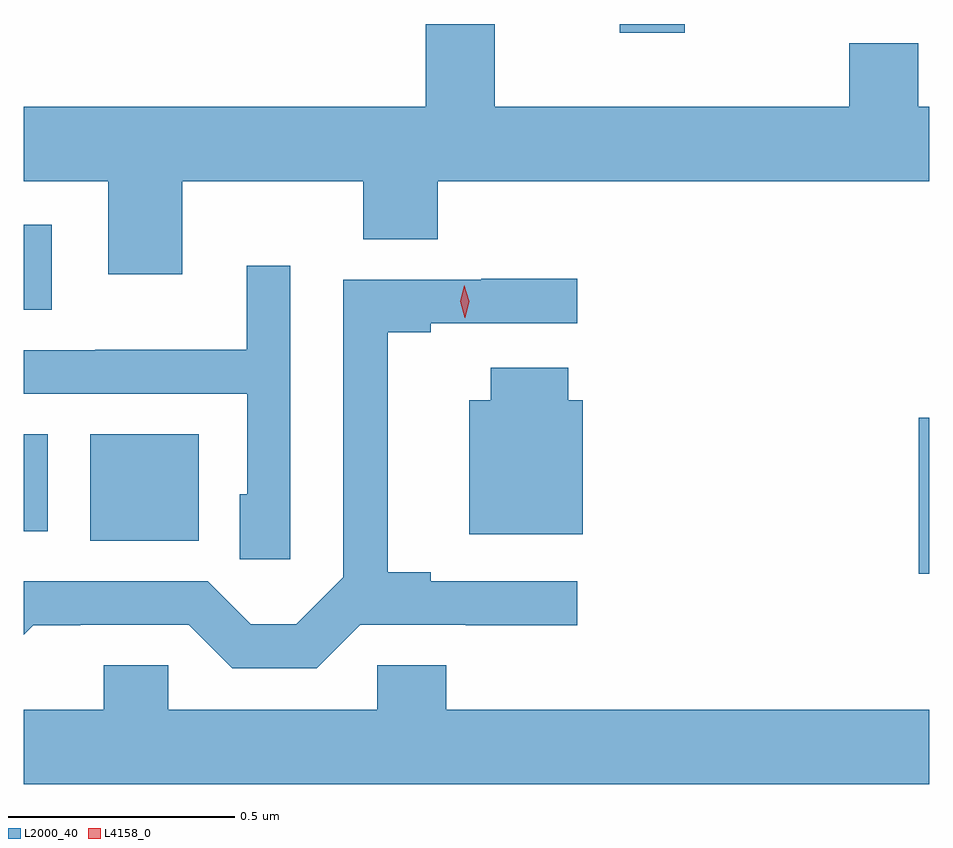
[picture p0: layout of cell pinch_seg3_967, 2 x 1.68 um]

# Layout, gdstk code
import gdstk
lib = gdstk.Library(unit=1e-6, precision=1e-09)
def R(c, l, rs):  # rectangles x0, y0, x1, y1
    for r in rs: c.add(gdstk.rectangle(r[:2], r[2:], *l))
def P(c, l, *ps):  # polygons
    for p in ps: c.add(gdstk.Polygon(p, *l))
L2000_40 = (2000, 40)
L4158_0 = (4158, 0)

pinch_seg3_967 = lib.new_cell('pinch_seg3_967')
R(pinch_seg3_967, L2000_40, [(569.828,728.021,569.851,728.365), (567.998,728.093,568.237,728.329), (567.851,728.114,567.904,728.329), (567.851,728.604,567.913,728.791), (569.168,729.216,569.311,729.235)])
P(pinch_seg3_967, L2000_40, [(568.201,728.888),(568.601,728.888),(568.601,728.76),(568.765,728.76),(568.765,728.888),(569.851,728.888),(569.851,729.052),(569.827,729.052),(569.827,729.193),(569.675,729.193),(569.675,729.052),(568.891,729.052),(568.891,729.235),(568.739,729.235),(568.739,729.052),(567.851,729.052),(567.851,728.888),(568.037,728.888),(568.037,728.682),(568.201,728.682)],
  [(568.44,728.701),(568.343,728.701),(568.343,728.515),(568.009,728.515),(568.009,728.514),(567.851,728.514),(567.851,728.418),(568.344,728.418),(568.344,728.196),(568.328,728.196),(568.328,728.053),(568.44,728.053)],
  [(568.594,727.908),(568.827,727.908),(568.827,727.907),(569.074,727.907),(569.074,728.004),(568.75,728.004),(568.75,728.024),(568.655,728.024),(568.655,728.554),(568.75,728.554),(568.75,728.574),(569.074,728.574),(569.074,728.672),(568.861,728.672),(568.861,728.67),(568.557,728.67),(568.557,728.013),(568.453,727.909),(568.352,727.909),(568.257,728.004),(567.851,728.004),(567.851,727.886),(567.872,727.907),(567.976,727.907),(567.976,727.908),(568.215,727.908),(568.311,727.812),(568.498,727.812)],
  [(569.086,728.404),(569.054,728.404),(569.054,728.476),(568.883,728.476),(568.883,728.404),(568.835,728.404),(568.835,728.108),(569.086,728.108)],
  [(569.851,727.72),(568.784,727.72),(568.784,727.818),(568.632,727.818),(568.632,727.72),(568.17,727.72),(568.17,727.818),(568.028,727.818),(568.028,727.72),(567.851,727.72),(567.851,727.556),(569.851,727.556)])
P(pinch_seg3_967, L4158_0, [(568.825,728.586),(568.815,728.622),(568.824,728.658),(568.824,728.658),(568.824,728.658),(568.835,728.622),(568.826,728.586),(568.826,728.586)])

lib.write_gds('pinch_seg3_967.gds')
